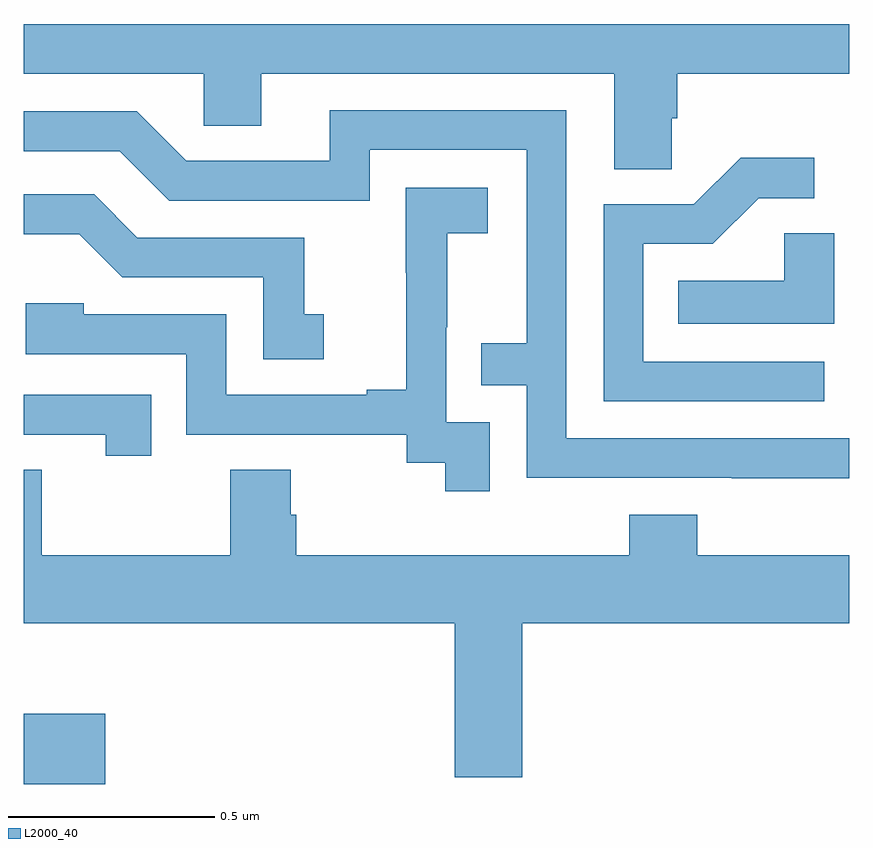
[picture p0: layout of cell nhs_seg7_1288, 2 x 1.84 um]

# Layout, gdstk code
import gdstk
lib = gdstk.Library(unit=1e-6, precision=1e-09)
def R(c, l, rs):  # rectangles x0, y0, x1, y1
    for r in rs: c.add(gdstk.rectangle(r[:2], r[2:], *l))
def P(c, l, *ps):  # polygons
    for p in ps: c.add(gdstk.Polygon(p, *l))
L2000_40 = (2000, 40)

nhs_seg7_1288 = lib.new_cell('nhs_seg7_1288')
R(nhs_seg7_1288, L2000_40, [(128,1068.158,128.197,1068.328)])
P(nhs_seg7_1288, L2000_40, [(129.57,1069.771),(129.584,1069.771),(129.584,1069.88),(130,1069.88),(130,1070),(128,1070),(128,1069.88),(128.436,1069.88),(128.436,1069.753),(128.575,1069.753),(128.575,1069.88),(129.431,1069.88),(129.431,1069.648),(129.57,1069.648)],
  [(130,1068.996),(129.315,1068.996),(129.315,1069.791),(128.741,1069.791),(128.741,1069.668),(128.394,1069.668),(128.274,1069.788),(128,1069.788),(128,1069.692),(128.232,1069.692),(128.352,1069.572),(128.838,1069.572),(128.838,1069.695),(129.219,1069.695),(129.219,1069.226),(129.109,1069.226),(129.109,1069.125),(129.219,1069.125),(129.219,1068.9),(129.715,1068.9),(129.715,1068.899),(130,1068.899)],
  [(129.94,1069.182),(129.501,1069.182),(129.501,1069.467),(129.67,1069.467),(129.781,1069.578),(129.916,1069.578),(129.916,1069.676),(129.737,1069.676),(129.624,1069.563),(129.405,1069.563),(129.405,1069.086),(129.94,1069.086)],
  [(129.129,1069.035),(129.024,1069.035),(129.024,1069.265),(129.026,1069.265),(129.026,1069.493),(129.124,1069.493),(129.124,1069.603),(128.926,1069.603),(128.926,1069.397),(128.927,1069.397),(128.927,1069.114),(128.831,1069.114),(128.831,1069.101),(128.49,1069.101),(128.49,1069.296),(128.145,1069.296),(128.145,1069.323),(128.005,1069.323),(128.005,1069.2),(128.394,1069.2),(128.394,1069.005),(128.928,1069.005),(128.928,1068.937),(129.021,1068.937),(129.021,1068.867),(129.129,1068.867)],
  [(128.727,1069.297),(128.679,1069.297),(128.679,1069.482),(128.275,1069.482),(128.17,1069.587),(128,1069.587),(128,1069.49),(128.134,1069.49),(128.238,1069.386),(128.58,1069.386),(128.58,1069.188),(128.727,1069.188)],
  [(129.964,1069.493),(129.843,1069.493),(129.843,1069.378),(129.586,1069.378),(129.586,1069.274),(129.964,1069.274)],
  [(128.309,1069.101),(128,1069.101),(128,1069.005),(128.198,1069.005),(128.198,1068.954),(128.309,1068.954)],
  [(129.208,1068.548),(130,1068.548),(130,1068.712),(129.632,1068.712),(129.632,1068.811),(129.467,1068.811),(129.467,1068.712),(128.66,1068.712),(128.66,1068.81),(128.647,1068.81),(128.647,1068.92),(128.5,1068.92),(128.5,1068.712),(128.043,1068.712),(128.043,1068.92),(128,1068.92),(128,1068.548),(129.044,1068.548),(129.044,1068.174),(129.208,1068.174)])

lib.write_gds('nhs_seg7_1288.gds')
